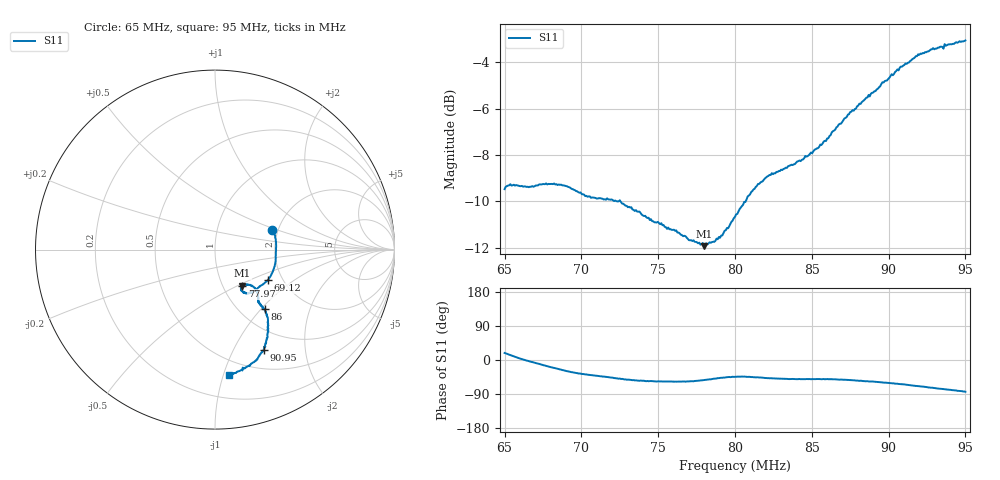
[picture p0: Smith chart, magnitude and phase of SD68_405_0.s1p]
! NanoVNA-App
! Date: 2025-08-02 16:39:48
! Start: 65MHz Stop: 95MHz Points: 401
! S-Parameter data: F S11
# Hz S RI R 50
!  Frequency  S11_Real  S11_Imag
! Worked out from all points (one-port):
!   401 points, 65 MHz to 95 MHz, reference 50 ohm
!   lowest |S11| = -11.9 dB at 77.97 MHz (marker M1), VSWR 1.68, Z = 61.7 - j26.6 ohm
!   |S11| at or under -10 dB: 72.29324 MHz to 72.43332 MHz (140.1 kHz wide, 0.194 % of centre); 72.54 MHz to 80.7 MHz (8.159 MHz wide, 10.6 % of centre)
!   S11 on the Smith chart (normalised r, x): 65 MHz: 1.86, +0.45; 69.12 MHz: 1.68, -0.64; 77.97 MHz: 1.23, -0.53; 86 MHz: 1.28, -1.05; 90.95 MHz: 0.73, -1.32; 95 MHz: 0.38, -1.04
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6.5e7  0.3184 0.1069
6.575e7  0.3399 0.044
6.7175e7  0.3375 -0.0563
6.875e7  0.3064 -0.1527
6.9125e7  0.2947 -0.1691
6.965e7  0.2748 -0.1875
7.0475e7  0.2512 -0.2044
7.25e7  0.2087 -0.2395
7.43e7  0.1654 -0.2393
7.625e7  0.1476 -0.2269
7.715e7  0.1459 -0.2157
7.7975e7  0.1528 -0.2015
7.9025e7  0.1788 -0.1938
8e7  0.2092 -0.2045
8.075e7  0.2282 -0.2228
8.15e7  0.2404 -0.2469
8.225e7  0.2397 -0.2691
8.375e7  0.2433 -0.29
8.4875e7  0.2559 -0.3074
8.6e7  0.276 -0.3324
8.75e7  0.2955 -0.3943
8.9075e7  0.2962 -0.4592
9.095e7  0.271 -0.5586
9.125e7  0.2616 -0.5727
9.1925e7  0.2351 -0.6131
9.275e7  0.1946 -0.6439
9.38e7  0.1454 -0.6717
9.5e7  0.0772 -0.6993
